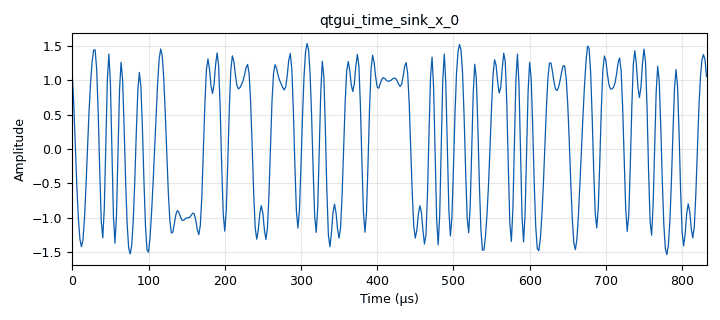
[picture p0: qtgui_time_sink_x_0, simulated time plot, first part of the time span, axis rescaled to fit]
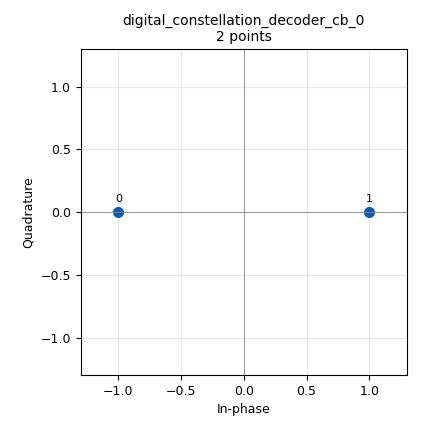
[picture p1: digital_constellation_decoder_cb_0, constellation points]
options:
  parameters:
    author: saman
    generate_options: qt_gui
    id: bpsk_q2_pluto
    output_language: python
    title: Not titled yet
  states: {}

blocks:
- name: bpsk
  id: variable_constellation
  parameters:
    precision: '8'
    type: bpsk
  states: {}
- name: noise_volt
  id: variable_qtgui_range
  parameters:
    gui_hint: 0,0,1,1
    label: Noise Voltage
    start: '0'
    step: '0.01'
    stop: '5'
    value: '0.0001'
  states: {}
- name: samp_rate
  id: variable
  parameters:
    value: '500000'
  states: {}
- name: analog_random_source_x_0
  id: analog_random_source_x
  parameters:
    max: '256'
    min: '0'
    num_samps: '1024'
    repeat: 'True'
    type: byte
  states: {}
- name: blocks_char_to_float_0
  id: blocks_char_to_float
  parameters:
    scale: '1'
  states: {}
- name: blocks_complex_to_float_0
  id: blocks_complex_to_float
  parameters: {}
  states: {}
- name: channels_channel_model_0
  id: channels_channel_model
  parameters:
    epsilon: '1.0'
    freq_offset: '0.0'
    noise_voltage: noise_volt
    seed: '0'
    taps: '1.0'
  states: {}
- name: digital_constellation_decoder_cb_0
  id: digital_constellation_decoder_cb
  parameters:
    constellation: bpsk
  states: {}
- name: digital_constellation_modulator_0
  id: digital_constellation_modulator
  parameters:
    constellation: bpsk
    differential: 'False'
    excess_bw: '0.35'
    samples_per_symbol: '4'
  states: {}
- name: iio_pluto_sink_0
  id: iio_pluto_sink
  parameters:
    attenuation1: '10.0'
    bandwidth: '20000000'
    buffer_size: '32768'
    cyclic: 'False'
    filter_source: '''Auto'''
    frequency: '2400000000'
    samplerate: samp_rate
    type: fc32
    uri: 192.168.2.1
  states: {}
- name: iio_pluto_source_0
  id: iio_pluto_source
  parameters:
    bandwidth: '20000000'
    bbdc: 'True'
    buffer_size: '32768'
    filter_source: '''Auto'''
    frequency: '2400000000'
    gain1: '''slow_attack'''
    quadrature: 'True'
    rfdc: 'True'
    samplerate: samp_rate
    type: fc32
    uri: 192.168.2.1
  states: {}
- name: qtgui_time_sink_x_0
  id: qtgui_time_sink_x
  parameters:
    size: '1024'
    srate: samp_rate
    type: float
  states: {}
- name: qtgui_time_sink_x_1
  id: qtgui_time_sink_x
  parameters:
    size: '1024'
    srate: samp_rate
    type: float
  states: {}

connections:
- [analog_random_source_x_0, '0', digital_constellation_modulator_0, '0']
- [blocks_char_to_float_0, '0', qtgui_time_sink_x_1, '0']
- [blocks_complex_to_float_0, '0', qtgui_time_sink_x_0, '0']
- [channels_channel_model_0, '0', digital_constellation_decoder_cb_0, '0']
- [digital_constellation_decoder_cb_0, '0', blocks_char_to_float_0, '0']
- [digital_constellation_modulator_0, '0', blocks_complex_to_float_0, '0']
- [digital_constellation_modulator_0, '0', iio_pluto_sink_0, '0']
- [iio_pluto_source_0, '0', channels_channel_model_0, '0']

metadata:
  file_format: 1
  grc_version: 3.10.9.2
